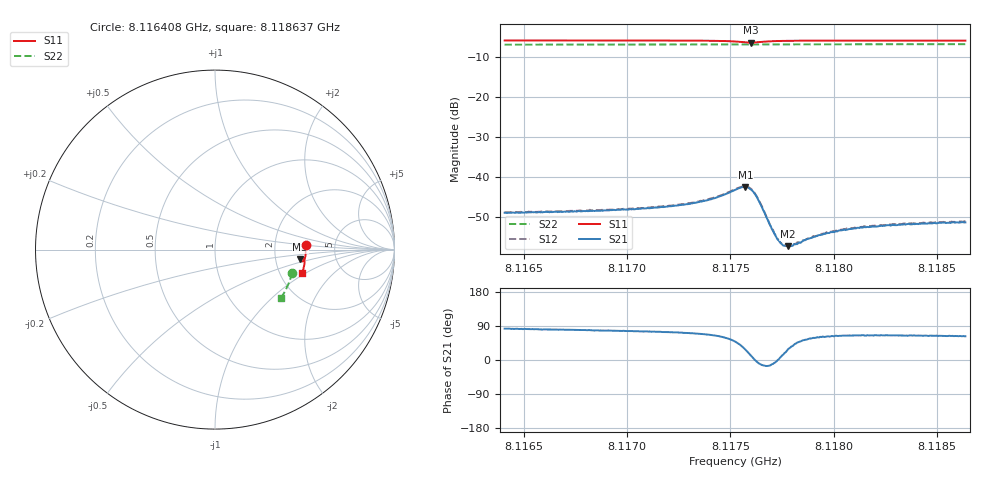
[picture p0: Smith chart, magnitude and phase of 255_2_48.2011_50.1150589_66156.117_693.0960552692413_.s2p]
#  HZ  S  RI  R  50.00
! Rohde & Schwarz Vector Network Analyzer
! Rohde-Schwarz,ZNB20-2Port,1311601062101988,3.16
! Created: UTC 3/20/2024, 11:47:31 AM
! freq[Hz]  re:S11  im:S11  re:S21  im:S21  re:S12  im:S12  re:S22  im:S22
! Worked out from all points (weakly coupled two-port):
!   401 points, 8.116408 GHz to 8.118637 GHz, reference 50 ohm
!   highest |S21| = -42.45 dB at 8.117573 GHz (marker M1); lowest = -57.2 dB at 8.117779 GHz (marker M2)
!   lowest |S11| = -6.4 dB at 8.117601 GHz (marker M3), VSWR 2.83, Z = 138 - j19.5 ohm
!   |S11| at or under -10 dB: nowhere
!   |S22| runs from -6.9 to -6.8 dB; largest |S21 - S12| = 0.00019
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8.1164075e9  0.5061 0.0279  0.00046 0.00356  0.000508 0.0036  0.4304 -0.1294
8.116781e9  0.5064 -0.000601  0.000714 0.00367  0.000748 0.00371  0.4232 -0.1544
8.1171545e9  0.5044 -0.0301  0.00112 0.00404  0.00121 0.00413  0.4145 -0.179
8.1172828e9  0.5028 -0.0412  0.00144 0.00433  0.00155 0.00439  0.4112 -0.1874
8.117372e9  0.5007 -0.0495  0.00186 0.00467  0.002 0.00476  0.4087 -0.1931
8.11745e9  0.4969 -0.0578  0.00271 0.00511  0.00285 0.00514  0.4064 -0.1982
8.1175225e9  0.4878 -0.0649  0.00456 0.00519  0.00472 0.00524  0.4039 -0.2028
8.1175503e9  0.4818 -0.0651  0.00579 0.00462  0.00592 0.00465  0.4029 -0.2043
8.1175726e9  0.4767 -0.0623  0.00669 0.00349  0.00682 0.00349  0.402 -0.2055
8.1176005e9  0.4741 -0.0544  0.00685 0.00129  0.00701 0.00128  0.4013 -0.2067
8.1176172e9  0.4761 -0.0497  0.00622 0.000115  0.00636 4.65e-05  0.401 -0.2076
8.117634e9  0.48 -0.0468  0.00522 -0.000671  0.00534 -0.000716  0.4006 -0.2085
8.1177009e9  0.4934 -0.0504  0.0022 -0.00044  0.00224 -0.000488  0.3992 -0.213
8.1177287e9  0.496 -0.0541  0.00167 -8.26e-06  0.00169 -6.51e-05  0.3986 -0.2149
8.117751e9  0.4972 -0.0572  0.00141 0.000305  0.00143 0.000278  0.398 -0.2162
8.1177789e9  0.4981 -0.0605  0.00121 0.000649  0.00124 0.000616  0.3971 -0.2179
8.1178012e9  0.4985 -0.0631  0.00111 0.000831  0.00115 0.000875  0.3965 -0.2195
8.117896e9  0.4988 -0.0727  0.000938 0.00149  0.000959 0.00151  0.3935 -0.2255
8.117974e9  0.4981 -0.0799  0.000919 0.00178  0.000962 0.00182  0.391 -0.2304
8.1180632e9  0.4971 -0.0872  0.000941 0.002  0.000989 0.00206  0.3878 -0.236
8.1182695e9  0.4941 -0.1035  0.00106 0.00229  0.00109 0.00232  0.3808 -0.2486
8.1186374e9  0.4875 -0.1308  0.00125 0.00241  0.00127 0.00251  0.3668 -0.2703
